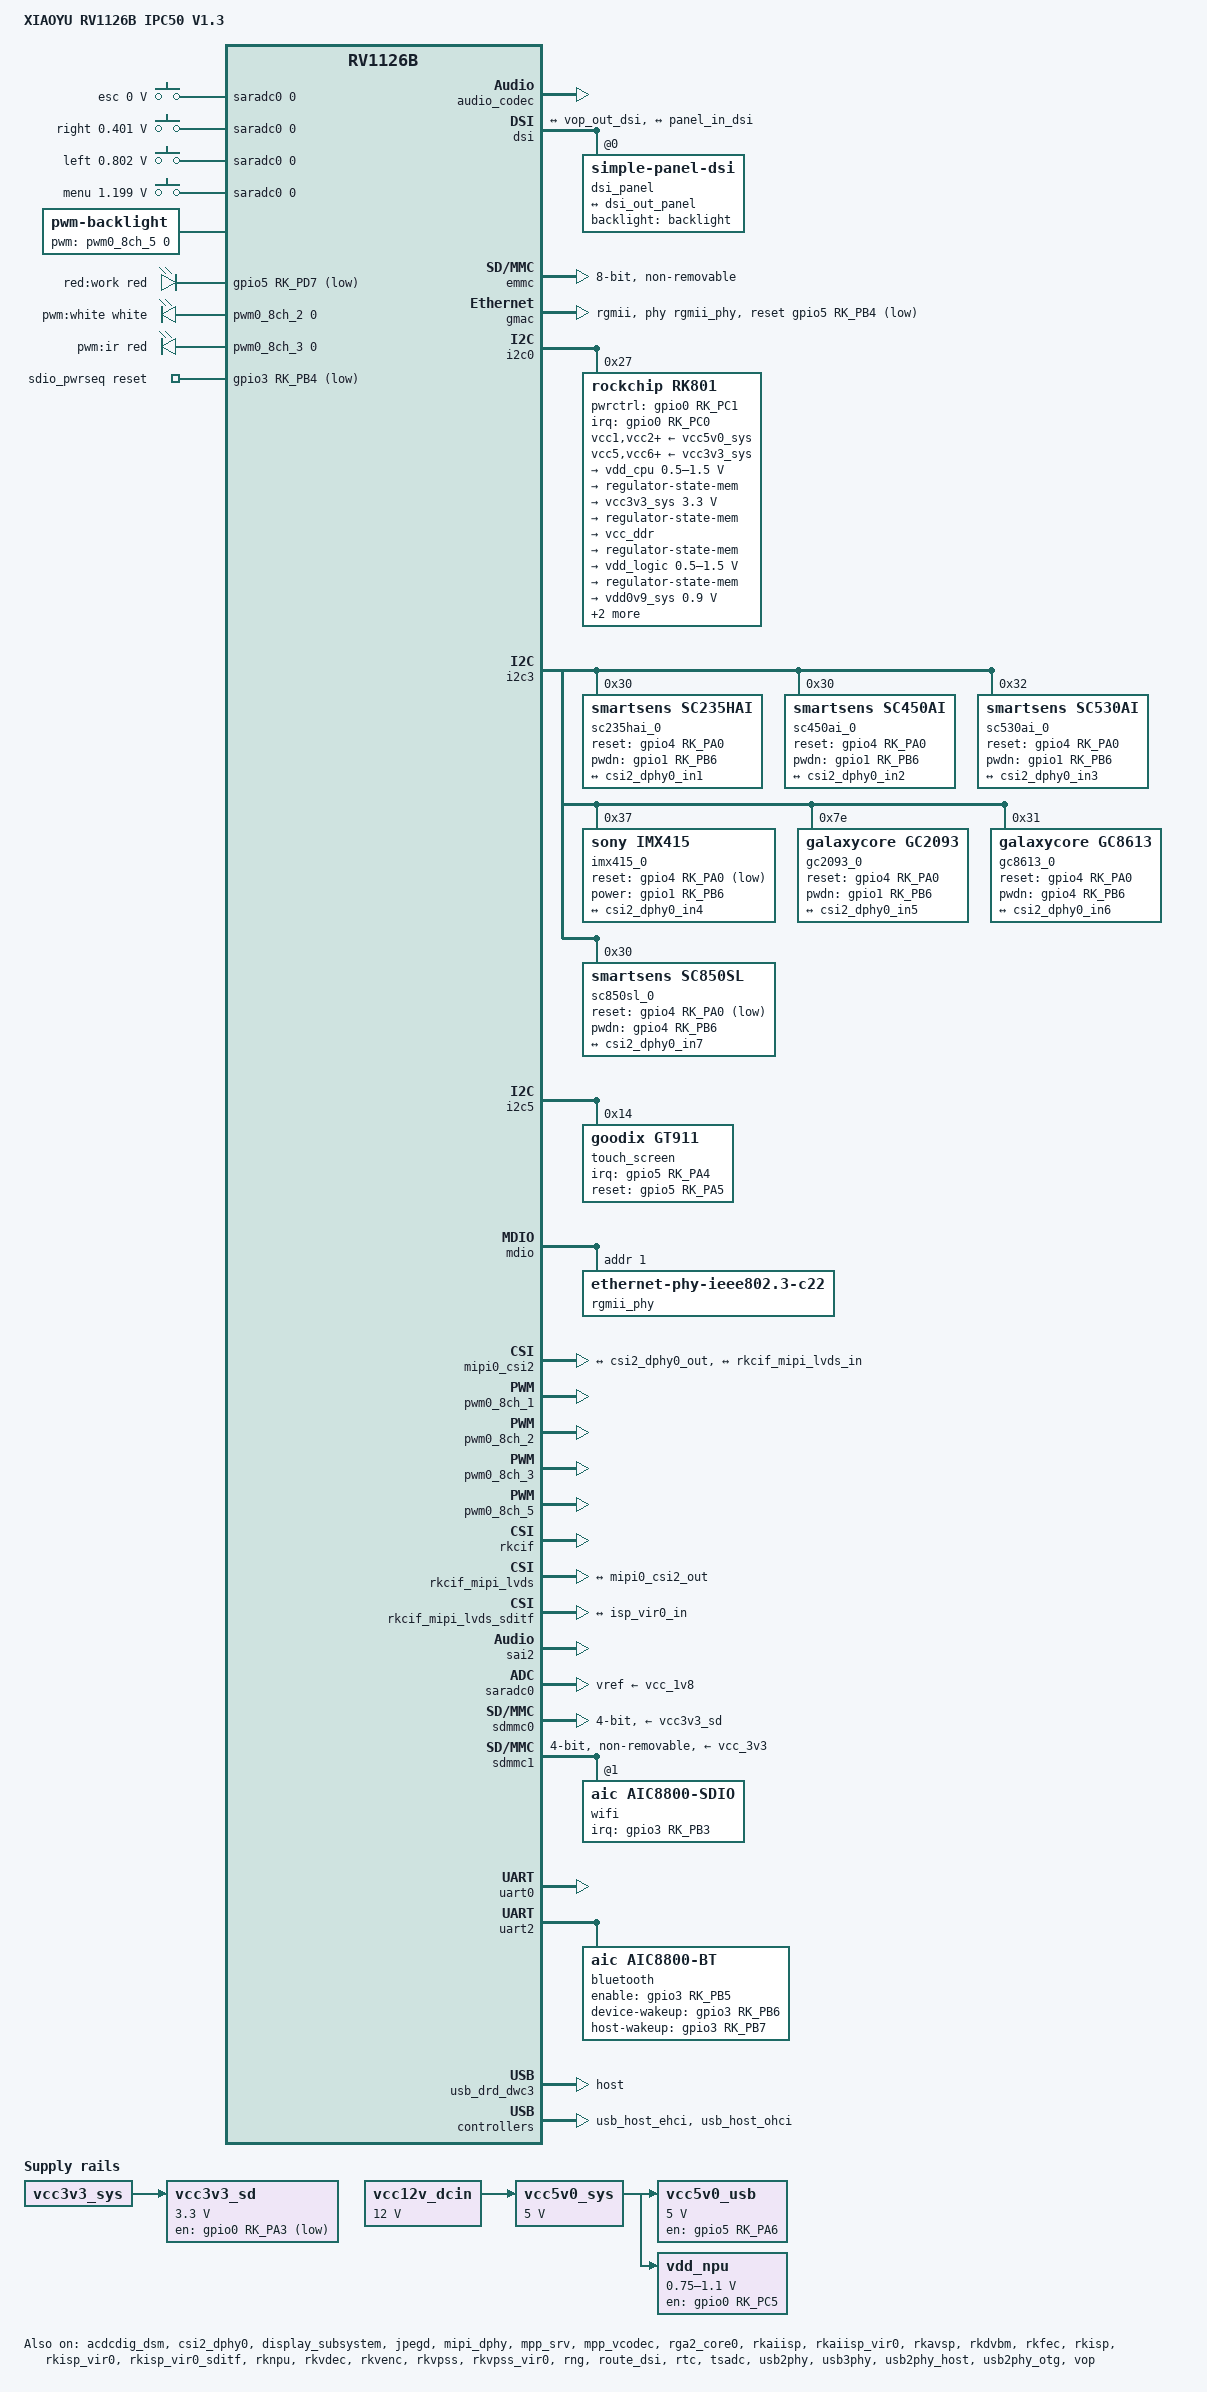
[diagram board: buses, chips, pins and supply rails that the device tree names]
// SPDX-License-Identifier: (GPL-2.0+ OR MIT)
/*
 * Copyright (c) 2025 Rockchip Electronics Co., Ltd.
 * Copyright (c) 2026 flippy (flippy@sina.com)
 */

/dts-v1/;

#include "rv1126b.dtsi"
#include <dt-bindings/display/drm_mipi_dsi.h>
#include <dt-bindings/input/input.h>
#include <dt-bindings/interrupt-controller/irq.h>
#include <dt-bindings/leds/common.h>
#include <dt-bindings/pwm/pwm.h>
#include "rv1126b-aoa.dtsi"

/ {
	model = "XIAOYU RV1126B IPC50 V1.3";
	compatible = "xiaoyu,rv1126b-ipc50", "rockchip,rv1126b";

	aliases {
		mmc0 = &emmc;
		mmc1 = &sdmmc0;
		mmc2 = &sdmmc1;
	};

	acodec_sound: acodec-sound {
		compatible = "rockchip,multicodecs-card";
		rockchip,card-name = "rockchip,acodec";
		rockchip,format = "i2s";
		rockchip,mclk-fs-mapping = <256 1024>;
		rockchip,cpu = <&sai2>;
		/*
		 * audio_codec_pmu: mic0
		 * audio_codec: mic1
		 * acdcdig_dsm: speak
		 */
		rockchip,codec = <&audio_codec_pmu>, <&audio_codec>, <&acdcdig_dsm>;
		status = "okay";
	};

	adc-keys {
		compatible = "adc-keys";
		io-channels = <&saradc0 0>;
		io-channel-names = "buttons";
		poll-interval = <100>;
		keyup-threshold-microvolt = <1800000>;

		esc-key {
			label = "esc";
			linux,code = <KEY_ESC>;
			press-threshold-microvolt = <0>;
		};

		right-key {
			label = "right";
			linux,code = <KEY_RIGHT>;
			press-threshold-microvolt = <400781>;
		};

		left-key {
			label = "left";
			linux,code = <KEY_LEFT>;
			press-threshold-microvolt = <801562>;
		};

		menu-key {
			label = "menu";
			linux,code = <KEY_MENU>;
			press-threshold-microvolt = <1198828>;
		};
	};

	backlight: backlight {
		compatible = "pwm-backlight";
		brightness-levels = <
			  0  20  20  21  21  22  22  23
			 23  24  24  25  25  26  26  27
			 27  28  28  29  29  30  30  31
			 31  32  32  33  33  34  34  35
			 35  36  36  37  37  38  38  39
			 40  41  42  43  44  45  46  47
			 48  49  50  51  52  53  54  55
			 56  57  58  59  60  61  62  63
			 64  65  66  67  68  69  70  71
			 72  73  74  75  76  77  78  79
			 80  81  82  83  84  85  86  87
			 88  89  90  91  92  93  94  95
			 96  97  98  99 100 101 102 103
			104 105 106 107 108 109 110 111
			112 113 114 115 116 117 118 119
			120 121 122 123 124 125 126 127
			128 129 130 131 132 133 134 135
			136 137 138 139 140 141 142 143
			144 145 146 147 148 149 150 151
			152 153 154 155 156 157 158 159
			160 161 162 163 164 165 166 167
			168 169 170 171 172 173 174 175
			176 177 178 179 180 181 182 183
			184 185 186 187 188 189 190 191
			192 193 194 195 196 197 198 199
			200 201 202 203 204 205 206 207
			208 209 210 211 212 213 214 215
			216 217 218 219 220 221 222 223
			224 225 226 227 228 229 230 231
			232 233 234 235 236 237 238 239
			240 241 242 243 244 245 246 247
			248 249 250 251 252 253 254 255
		>;
		default-brightness-level = <200>;
		pwms = <&pwm0_8ch_5 0 25000 0>;
	};

	chosen: chosen {
		bootargs = "earlycon=uart8250,mmio32,0x20810000 console=ttyFIQ0";
	};

	gpio_leds: leds {
		compatible = "gpio-leds";

		work_led: work {
			gpios = <&gpio5 RK_PD7 GPIO_ACTIVE_LOW>;
			color = <LED_COLOR_ID_RED>;
			label = "red:work";
			linux,default-trigger = "heartbeat";
			status = "okay";
		};
	};

	pwm_leds: pwm-leds {
		compatible = "pwm-leds";

		pwm_led_white: pwm-led-white {
			color = <LED_COLOR_ID_WHITE>;
			label = "pwm:white";
			/* 0:PWM_POLARITY_NORMAL 1:PWM_POLARITY_INVERTED */
			pwms = <&pwm0_8ch_2 0 5000 0>;
			max-brightness = <255>;
			default-state = "off";
		};

		pwm_led_ir: pwm-led-ir {
			color = <LED_COLOR_ID_RED>;
			label = "pwm:ir";
			/* 0:PWM_POLARITY_NORMAL 1:PWM_POLARITY_INVERTED */
			pwms = <&pwm0_8ch_3 0 5000 0>;
			max-brightness = <255>;
			default-state = "off";
		};
	};

	reserved_memory: reserved-memory {
		cma: cma {
			compatible = "shared-dma-pool";
			linux,cma-default;
			size =  <(256 * 0x100000)>;
			reusable;
		};
	};

	sdio_pwrseq: sdio-pwrseq {
		compatible = "mmc-pwrseq-simple";
		pinctrl-names = "default";
		pinctrl-0 = <&wifi_enable_h>;
		post-power-on-delay-ms = <200>;
		power-off-delay-us = <20000>;

		/*
		 * On the module itself this is one of these (depending
		 * on the actual card populated):
		 * - SDIO_RESET_L_WL_REG_ON
		 * - PDN (power down when low)
		 */
		reset-gpios = <&gpio3 RK_PB4 GPIO_ACTIVE_LOW>;
	};

	vcc12v_dcin: regulator-vcc12v-dcin {
		compatible = "regulator-fixed";
		regulator-name = "vcc12v_dcin";
		regulator-always-on;
		regulator-boot-on;
		regulator-min-microvolt = <12000000>;
		regulator-max-microvolt = <12000000>;
	};

	vcc5v0_sys: regulator-vcc5v0-sys {
		compatible = "regulator-fixed";
		regulator-name = "vcc5v0_sys";
		regulator-always-on;
		regulator-boot-on;
		regulator-min-microvolt = <5000000>;
		regulator-max-microvolt = <5000000>;
		vin-supply = <&vcc12v_dcin>;
		status = "okay";
	};

	vcc5v0_usb: regulator-vcc5v0-usb {
		compatible = "regulator-fixed";
		enable-active-high;	
		gpios = <&gpio5 RK_PA6 GPIO_ACTIVE_HIGH>;
		regulator-min-microvolt = <5000000>;
		regulator-max-microvolt = <5000000>;
		regulator-name = "vcc5v0_usb";
		vin-supply = <&vcc5v0_sys>;
	};

	vcc3v3_sd: regulator-vcc3v3-sd {
		compatible = "regulator-fixed";
		gpios = <&gpio0 RK_PA3 GPIO_ACTIVE_LOW>;
		regulator-always-on;
		regulator-boot-on;
		regulator-min-microvolt = <3300000>;
		regulator-max-microvolt = <3300000>;
		regulator-name = "vcc3v3_sd";
		vin-supply = <&vcc3v3_sys>;
	};

	vdd_npu: vdd-npu {
		compatible = "pwm-regulator";
		enable-gpios = <&gpio0 RK_PC5 GPIO_ACTIVE_HIGH>;
		pwms = <&pwm0_8ch_1 0 25000 1>;
		regulator-always-on;
		regulator-boot-on;
		regulator-init-microvolt = <950000>;
		regulator-min-microvolt = <750000>;
		regulator-max-microvolt = <1100000>;
		regulator-name = "vdd_npu";
		regulator-settling-time-up-us = <250>;
		pwm-supply = <&vcc5v0_sys>;
	};

};

/* speak */
&acdcdig_dsm {
	pa-ctl-gpios = <&gpio0 RK_PA4 GPIO_ACTIVE_HIGH>;
	pinctrl-0 = <&dsm_aud_rn_pins &dsm_aud_rp_pins>;
	status = "okay";
};

/* mic1 */
&audio_codec {
	status = "okay";
};

/* mic0 */
&audio_codec_pmu {
	status = "okay";
};

&cpu0 {
	cpu-supply = <&vdd_cpu>;
};

/*
 * csi2_dphy0 -> csi0(rx0) clk0 + 4 lane ==> imx415_0 
 *                           or + 2 lane ==> sc450ai_0
 * csi2_dphy1 -> csi0(rx0) clk0 + 2 lane 0/1
 * csi2_dphy2 -> csi0(rx0) clk1 + 2 lane 2/3
 * csi2_dphy3 -> csi1(rx1) clk0 + 4 lane ==> imx415_1
 *                              + 2 lane ==> sc450ai_1
 * csi2_dphy4 -> csi1(rx1) clk0 + 2 lane 0/1
 * csi2_dphy5 -> csi1(rx1) clk1 + 2 lane 2/3
 */
&csi2_dphy0 {
	status = "okay";

	ports {
		#address-cells = <1>;
		#size-cells = <0>;

		port@0 {
			reg = <0>;
			#address-cells = <1>;
			#size-cells = <0>;

			csi2_dphy0_in1: endpoint@1 {
				reg = <1>;
				remote-endpoint = <&sc235hai_0_out>;
				data-lanes = <1 2>;
			};

			csi2_dphy0_in2: endpoint@2 {
				reg = <2>;
				remote-endpoint = <&sc450ai_0_out>;
				data-lanes = <1 2>;
			};

			csi2_dphy0_in3: endpoint@3 {
				reg = <3>;
				remote-endpoint = <&sc530ai_0_out>;
				data-lanes = <1 2 3 4>;
			};

			csi2_dphy0_in4: endpoint@4 {
				reg = <4>;
				remote-endpoint = <&imx415_0_out>;
				data-lanes = <1 2 3 4>;
			};

			csi2_dphy0_in5: endpoint@5 {
				reg = <5>;
				remote-endpoint = <&gc2093_0_out>;
				data-lanes = <1 2>;
			};

			csi2_dphy0_in6: endpoint@6 {
				reg = <6>;
				remote-endpoint = <&gc8613_0_out>;
				data-lanes = <1 2 3 4>;
			};

			csi2_dphy0_in7: endpoint@7 {
				reg = <7>;
				remote-endpoint = <&sc850sl_0_out>;
				data-lanes = <1 2 3 4>;
			};

			/*
			csi2_dphy0_in8: endpoint@8 {
				reg = <8>;
				remote-endpoint = <&imx586_0_out>;
				data-lanes = <1 2 3 4>;
			};
			*/

			/*
			csi2_dphy0_in9: endpoint@9 {
				reg = <9>;
				remote-endpoint = <&sc635ai_0_out>;
				data-lanes = <1 2 3 4>;
			};
			*/
		};

		port@1 {
			reg = <1>;
			#address-cells = <1>;
			#size-cells = <0>;

			csi2_dphy0_out: endpoint@0 {
				reg = <0>;
				remote-endpoint = <&mipi0_csi2_in>;
			};
		};
	};
};

&dsi {          
	status = "okay";

	dsi_panel: panel@0 {
		status = "okay";
		compatible ="simple-panel-dsi";
		reg = <0>;
		backlight = <&backlight>;
		bpc = <8>;   // 每个颜色通道的位数
		prepare-delay-ms = <60>;
		reset-delay-ms = <60>;
		init-delay-ms = <60>;
		disable-delay-ms = <60>;
		unprepare-delay-ms = <60>;

		width-mm = <62>;
		height-mm = <103>;

		/* 忽略enable-gpios、reset-gpios, 但相关引脚拉高，解决开机logo不显示的问题 */
		//enable-gpios  = <&gpio5 RK_PA3 GPIO_ACTIVE_HIGH>;
		//reset-gpios  = <&gpio1 RK_PB5 GPIO_ACTIVE_LOW>;
		pinctrl-names = "default";
		pinctrl-0 = <&lcd_en_h>, <&lcd_rst_l>;

		dsi,flags = <(MIPI_DSI_MODE_VIDEO | MIPI_DSI_MODE_VIDEO_BURST | MIPI_DSI_MODE_LPM | MIPI_DSI_MODE_NO_EOT_PACKET)>;
		dsi,format = <MIPI_DSI_FMT_RGB888>;
		dsi,lanes = <2>;

		panel-init-sequence = [
			39 00 06 F0 55 AA 52 08 00
			39 00 03 F6 5A 87
			39 00 02 C1 3F
			39 00 02 CD 25
			39 00 02 C9 10
			39 00 02 F8 8A
			39 00 02 AC 45
			39 00 02 A7 47
			39 00 02 A0 CC
			39 00 05 86 99 A3 A3 41
			39 00 05 FA 08 08 00 04
			39 00 02 A3 6E
			39 00 04 FD 3C 3C 00
			39 00 02 9A 6C
			39 00 02 9B 6C
			39 00 03 82 42 42
			39 00 02 B1 10
			39 00 03 7A 0F 13
			39 00 03 7B 0F 13
			39 00 08 69 14 22 14 22 44 22 08
			39 00 02 6B 07
			39 00 21 6D 07 1E 01 00 1F 09 0B 0D 0F 1E 1E 1E 1E 1E 1E 1E 1E 1E 1E 1E 1E 1E 1E 10 0E 0C 0A 1F 00 02 1E 08
			39 00 09 60 18 07 7A 7A 18 06 7A 7A
			39 00 09 63 13 1F 7A 7A 13 20 7A 7A
			39 00 11 64 18 03 03 25 03 03 18 02 03 26 03 03 7A 7A 7A 7A
			39 00 11 65 18 01 03 27 03 03 18 00 03 28 03 03 7A 7A 7A 7A
			39 00 11 66 10 01 03 29 03 03 10 02 03 2A 03 03 7A 7A 7A 7A
			39 00 11 67 10 03 03 2B 03 03 10 04 03 2C 03 03 7A 7A 7A 7A
			39 00 35 D1 00 00 00 08 00 10 00 24 00 30 00 40 00 59 00 80 00 9D 00 CF 00 FC 01 50 01 9E 01 A0 01 E8 02 46 02 81 02 CC 03 02 03 60 03 B0 03 C1 03 CD 03 D8 03 E0 03 FF
			39 00 35 D2 00 00 00 08 00 10 00 24 00 30 00 40 00 59 00 80 00 9D 00 CF 00 FC 01 50 01 9E 01 A0 01 E8 02 46 02 81 02 CC 03 02 03 60 03 B0 03 C1 03 CD 03 D8 03 E0 03 FF
			39 00 35 D3 00 00 00 08 00 10 00 24 00 30 00 40 00 59 00 80 00 9D 00 CF 00 FC 01 50 01 9E 01 A0 01 E8 02 46 02 81 02 CC 03 02 03 60 03 B0 03 C1 03 CD 03 D8 03 E0 03 FF
			39 00 35 D4 00 00 00 08 00 10 00 24 00 30 00 40 00 59 00 80 00 9D 00 CF 00 FC 01 50 01 9E 01 A0 01 E8 02 46 02 81 02 CC 03 02 03 60 03 B0 03 C1 03 CD 03 D8 03 E0 03 FF
			39 00 35 D5 00 00 00 08 00 10 00 24 00 30 00 40 00 59 00 80 00 9D 00 CF 00 FC 01 50 01 9E 01 A0 01 E8 02 46 02 81 02 CC 03 02 03 60 03 B0 03 C1 03 CD 03 D8 03 E0 03 FF
			39 00 35 D6 00 00 00 08 00 10 00 24 00 30 00 40 00 59 00 80 00 9D 00 CF 00 FC 01 50 01 9E 01 A0 01 E8 02 46 02 81 02 CC 03 02 03 60 03 B0 03 C1 03 CD 03 D8 03 E0 03 FF            
			// SLEEP OUT命令
			05 78 01 11  // 延迟120ms
			// DISPLAY ON命令
			05 14 01 29  // 延迟20ms
		];

		panel-exit-sequence = [
			05 00 01 28
			05 00 01 10
		];
 
		display-timings {
			native-mode = <&timing0>;

			timing0: timing0 {
				clock-frequency = <26800000>; //26839200 //26800000  --> p60; 28000000   --> p63
				hactive = <480>;
				vactive = <800>;
				hback-porch = <20>;
				hfront-porch = <20>;
				vback-porch = <24>;
				vfront-porch = <12>;
				hsync-len = <10>;
				vsync-len = <8>;

				hsync-active = <0>;
				vsync-active = <0>;
				de-active = <0>;
				pixelclk-active = <0>;
			};
		};

		ports {
			#address-cells = <1>;
			#size-cells = <0>;

			port@0 {
				reg = <0>;
				panel_in_dsi: endpoint {
					remote-endpoint = <&dsi_out_panel>;
				};
			};
		};
	};
    
	/delete-node/ ports;
	ports {
		#address-cells = <1>;
		#size-cells = <0>;

		port@0 {
			reg = <0>;
			dsi_in_vop: endpoint {
				remote-endpoint = <&vop_out_dsi>;
			};
        	};

		port@1 {
			reg = <1>;
			dsi_out_panel: endpoint {
				remote-endpoint = <&panel_in_dsi>;
			};
		};
	};
};              
                
&dsi_in_vop {   
	status = "okay";
};

&display_subsystem {
	status = "okay";
};

&emmc {
	bus-width = <8>;
	cap-mmc-highspeed;
	non-removable;
	mmc-hs200-1_8v;
	rockchip,default-sample-phase = <90>;
	no-sdio;
	no-sd;
	status = "okay";
};

&fspi0 {
	status = "disabled";

	flash@0 {
		compatible = "spi-nand";
		reg = <0>;
		spi-max-frequency = <75000000>;
		spi-rx-bus-width = <4>;
		spi-tx-bus-width = <1>;
	};
};

&gmac {
	assigned-clocks = <&cru CLK_MAC_OUT2IO>;
	assigned-clock-rates = <25000000>;
	clock_in_out = "output";
	phy-handle = <&rgmii_phy>;
	phy-mode = "rgmii";
	pinctrl-names = "default";
	pinctrl-0 = <&ethm1_miim_pins
		     &ethm1_tx_bus2_pins
		     &ethm1_rx_bus2_pins
		     &ethm1_rgmii_clk_pins
		     &ethm1_rgmii_bus_pins
		     &eth_clk_25mm1_out_pins>;

	tx_delay = <0x31>;
	rx_delay = <0x2e>;

	snps,reset-active-low;
	/* Reset time is 20ms, 100ms for rtl8211f */
	snps,reset-delays-us = <0 20000 100000>;
	snps,reset-gpio = <&gpio5 RK_PB4 GPIO_ACTIVE_LOW>;

	status = "okay";
};

&i2c0 {
	status = "okay";

	rk801: rk801@27 {
		compatible = "rockchip,rk801";
		status = "okay";
		reg = <0x27>;
		interrupt-parent = <&gpio0>;
		interrupts = <RK_PC0 IRQ_TYPE_LEVEL_LOW>;
		pwrctrl-gpios = <&gpio0 RK_PC1 GPIO_ACTIVE_HIGH>;

		pinctrl-names = "default", "pmic-reset";
		pinctrl-0 = <&pmic_int>;
		pinctrl-1 = <&soc_pwrctrl_reset>;
		rockchip,system-power-controller;
		wakeup-source;

		vcc1-supply = <&vcc5v0_sys>;
		vcc2-supply = <&vcc5v0_sys>;
		vcc3-supply = <&vcc5v0_sys>;
		vcc4-supply = <&vcc5v0_sys>;
		vcc5-supply = <&vcc3v3_sys>;
		vcc6-supply = <&vcc3v3_sys>;
		vcc7-supply = <&vcc3v3_sys>;

		regulators {
			vdd_cpu: DCDC_REG1 {
				regulator-name = "vdd_cpu";
				regulator-min-microvolt = <500000>;
				regulator-max-microvolt = <1500000>;
				regulator-initial-mode = <0x1>;
				regulator-boot-on;
				regulator-always-on;
				regulator-state-mem {
					regulator-mode = <0x2>;
					regulator-off-in-suspend;
					regulator-suspend-microvolt = <950000>;
				};
			};

			vcc3v3_sys: DCDC_REG2 {
				regulator-name = "vcc3v3_sys";
				regulator-min-microvolt = <3300000>;
				regulator-max-microvolt = <3300000>;
				regulator-initial-mode = <0x1>;
				regulator-boot-on;
				regulator-always-on;
				regulator-state-mem {
					regulator-mode = <0x2>;
					regulator-on-in-suspend;
					regulator-suspend-microvolt = <3300000>;
				};
			};

			vcc_ddr: DCDC_REG3 {
				regulator-name = "vcc_ddr";
				regulator-boot-on;
				regulator-always-on;
				regulator-state-mem {
					regulator-mode = <0x2>;
					regulator-on-in-suspend;
				};
			};

			vdd_logic: DCDC_REG4 {
				regulator-name = "vdd_logic";
				regulator-min-microvolt = <500000>;
				regulator-max-microvolt = <1500000>;
				regulator-initial-mode = <0x1>;
				regulator-boot-on;
				regulator-always-on;
				regulator-state-mem {
					regulator-mode = <0x2>;
					regulator-off-in-suspend;
					regulator-suspend-microvolt = <900000>;
				};
			};

			vdd0v9_sys: LDO_REG1 {
				regulator-name = "vdd0v9_sys";
				regulator-min-microvolt = <900000>;
				regulator-max-microvolt = <900000>;
				regulator-boot-on;
				regulator-always-on;
				regulator-state-mem {
					regulator-off-in-suspend;
					regulator-suspend-microvolt = <900000>;
				};
			};

			vcc_1v8: LDO_REG2 {
				regulator-name = "vcc_1v8";
				regulator-min-microvolt = <1800000>;
				regulator-max-microvolt = <1800000>;
				regulator-boot-on;
				regulator-always-on;
				regulator-state-mem {
					regulator-off-in-suspend;
					regulator-suspend-microvolt = <1800000>;
				};
			};

			vcc_3v3: SWITCH_REG {
				regulator-name = "vcc_3v3";
				regulator-boot-on;
				regulator-always-on;
				regulator-state-mem {
					regulator-off-in-suspend;
					regulator-suspend-microvolt = <3300000>;
				};
			};
		};
	};
};

/* sensor0 */
&i2c3 {
	pinctrl-0 = <&i2c3m1_pins>;
	status = "okay";

	sc235hai_0: sc235hai-0@30 {
		compatible = "smartsens,sc235hai";
		reg = <0x30>;
		clocks = <&cru CLK_MIPI0_OUT2IO>;
		clock-names = "xvclk";
		reset-gpios = <&gpio4 RK_PA0 GPIO_ACTIVE_HIGH>;
		pwdn-gpios = <&gpio1 RK_PB6 GPIO_ACTIVE_HIGH>;
		pinctrl-names = "default";
		pinctrl-0 = <&cam_clk0_pins>;
		rockchip,camera-hdr-mode = <5>; // HDR_X2
		rockchip,camera-module-index = <0>;
		rockchip,camera-module-facing = "back";
		rockchip,camera-module-name = "xiaoyu";
		rockchip,camera-module-lens-name = "50ipc";
		status = "okay";

		port {
			sc235hai_0_out: endpoint {
				remote-endpoint = <&csi2_dphy0_in1>;
				data-lanes = <1 2>;
			};
		};
	};

	sc450ai_0: sc450ai-0@30 {
		compatible = "smartsens,sc450ai";
		reg = <0x30>;
		clocks = <&cru CLK_MIPI0_OUT2IO>;
		clock-names = "xvclk";
		reset-gpios = <&gpio4 RK_PA0 GPIO_ACTIVE_HIGH>;
		pwdn-gpios = <&gpio1 RK_PB6 GPIO_ACTIVE_HIGH>;
		pinctrl-names = "default";
		pinctrl-0 = <&cam_clk0_pins>;
		rockchip,camera-hdr-mode = <5>; // HDR_X2
		rockchip,camera-module-index = <0>;
		rockchip,camera-module-facing = "back";
		rockchip,camera-module-name = "xiaoyu";
		rockchip,camera-module-lens-name = "50ipc";
		status = "okay";

		port {
			sc450ai_0_out: endpoint {
				remote-endpoint = <&csi2_dphy0_in2>;
				data-lanes = <1 2>;
			};
		};
	};

	sc530ai_0: sc530ai-0@32 {
		compatible = "smartsens,sc530ai";
		reg = <0x32>;
		clocks = <&cru CLK_MIPI0_OUT2IO>;
		clock-names = "xvclk";
		reset-gpios = <&gpio4 RK_PA0 GPIO_ACTIVE_HIGH>;
		pwdn-gpios = <&gpio1 RK_PB6 GPIO_ACTIVE_HIGH>;
		pinctrl-names = "default";
		pinctrl-0 = <&cam_clk0_pins>;
		rockchip,camera-hdr-mode = <5>; // HDR_X2
		rockchip,camera-module-index = <0>;
		rockchip,camera-module-facing = "back";
		rockchip,camera-module-name = "xiaoyu";
		rockchip,camera-module-lens-name = "50ipc";
		status = "okay";

		port {
			sc530ai_0_out: endpoint {
				remote-endpoint = <&csi2_dphy0_in3>;
				data-lanes = <1 2 3 4>;
			};
		};
	};

	imx415_0: imx415-0@37 {
		compatible = "sony,imx415";
		reg = <0x37>;
		clocks = <&cru CLK_MIPI0_OUT2IO>;
		clock-names = "xvclk";
		reset-gpios = <&gpio4 RK_PA0 GPIO_ACTIVE_LOW>;
		power-gpios = <&gpio1 RK_PB6 GPIO_ACTIVE_HIGH>;
		pinctrl-names = "default";
		pinctrl-0 = <&cam_clk0_pins>;
		rockchip,camera-hdr-mode = <5>; // HDR_X2
		rockchip,camera-module-index = <0>;
		rockchip,camera-module-facing = "back";
		rockchip,camera-module-name = "xiaoyu";
		rockchip,camera-module-lens-name = "50ipc";
		status = "okay";

		port {
			imx415_0_out: endpoint {
				remote-endpoint = <&csi2_dphy0_in4>;
				data-lanes = <1 2 3 4>;
			};
		};
	};

	gc2093_0: gc2093-0@7e {
		compatible = "galaxycore,gc2093";
		reg = <0x7e>;
		clocks = <&cru CLK_MIPI0_OUT2IO>;
		clock-names = "xvclk";
		pinctrl-names = "default";
		pinctrl-0 = <&cam_clk0_pins>;
		reset-gpios = <&gpio4 RK_PA0 GPIO_ACTIVE_HIGH>;
		pwdn-gpios = <&gpio1 RK_PB6 GPIO_ACTIVE_HIGH>;
		rockchip,camera-hdr-mode = <5>; // HDR_X2
		rockchip,camera-module-index = <0>;
		rockchip,camera-module-facing = "back";
		rockchip,camera-module-name = "xiaoyu";
		rockchip,camera-module-lens-name = "50ipc";
		status = "okay";

		port {
			gc2093_0_out: endpoint {
				remote-endpoint = <&csi2_dphy0_in5>;
				data-lanes = <1 2>;
			};
		};
	};

	gc8613_0: gc8613-0@31 {
		compatible = "galaxycore,gc8613";
		reg = <0x31>;
		clocks = <&cru CLK_MIPI0_OUT2IO>;
		clock-names = "xvclk";
		reset-gpios = <&gpio4 RK_PA0 GPIO_ACTIVE_HIGH>;
		pwdn-gpios = <&gpio4 RK_PB6 GPIO_ACTIVE_HIGH>;
		pinctrl-names = "default";
		pinctrl-0 = <&cam_clk0_pins>;
		rockchip,camera-hdr-mode = <5>; // HDR_X2
		rockchip,camera-module-index = <0>;
		rockchip,camera-module-facing = "back";
		rockchip,camera-module-name = "xiaoyu";
		rockchip,camera-module-lens-name = "50ipc";
		status = "okay";

		port {
			gc8613_0_out: endpoint {
				remote-endpoint = <&csi2_dphy0_in6>;
				data-lanes = <1 2 3 4>;
			};
		};
	};

	sc850sl_0: sc850sl-0@30 {
		compatible = "smartsens,sc850sl";
		reg = <0x30>;
		clocks = <&cru CLK_MIPI0_OUT2IO>;
		clock-names = "xvclk";
		reset-gpios = <&gpio4 RK_PA0 GPIO_ACTIVE_LOW>;
		pwdn-gpios = <&gpio4 RK_PB6 GPIO_ACTIVE_HIGH>;
		pinctrl-names = "default";
		pinctrl-0 = <&cam_clk0_pins>;
		rockchip,camera-hdr-mode = <5>; // HDR_X2
		rockchip,camera-module-index = <0>;
		rockchip,camera-module-facing = "back";
		rockchip,camera-module-name = "xiaoyu";
		rockchip,camera-module-lens-name = "50ipc";
		status = "okay";

		port {
			sc850sl_0_out: endpoint {
				remote-endpoint = <&csi2_dphy0_in7>;
				data-lanes = <1 2 3 4>;
			};
		};
	};

	/*
	imx586_0: imx586-0@1a {
		compatible = "sony,imx586";
		reg = <0x1a>;
		clocks = <&cru CLK_MIPI0_OUT2IO>;
		clock-names = "xvclk";
		reset-gpios = <&gpio4 RK_PA0 GPIO_ACTIVE_LOW>;
		power-gpios = <&gpio1 RK_PB6 GPIO_ACTIVE_HIGH>;
		pinctrl-names = "default";
		pinctrl-0 = <&cam_clk0_pins>;
		rockchip,camera-hdr-mode = <5>; // HDR_X2
		rockchip,camera-module-index = <0>;
		rockchip,camera-module-facing = "back";
		rockchip,camera-module-name = "xiaoyu";
		rockchip,camera-module-lens-name = "50ipc";
		status = "okay";

		port {
			imx586_0_out: endpoint {
				remote-endpoint = <&csi2_dphy0_in8>;
				data-lanes = <1 2 3 4>;
			};
		};
	};
	*/

	/*
	sc635hai_0: sc635hai-0@30 {
		compatible = "smartsens,sc635hai";
		reg = <0x30>;
		clocks = <&cru CLK_MIPI0_OUT2IO>;
		clock-names = "xvclk";
		reset-gpios = <&gpio4 RK_PA0 GPIO_ACTIVE_HIGH>;
		pwdn-gpios = <&gpio4 RK_PB6 GPIO_ACTIVE_HIGH>;
		pinctrl-names = "default";
		pinctrl-0 = <&cam_clk0_pins>;
		rockchip,camera-hdr-mode = <5>; // HDR_X2
		rockchip,camera-module-index = <0>;
		rockchip,camera-module-facing = "back";
		rockchip,camera-module-name = "xiaoyu";
		rockchip,camera-module-lens-name = "50ipc";
		status = "okay";

		port {
			sc635hai_0_out: endpoint {
				remote-endpoint = <&csi2_dphy0_in9>;
				data-lanes = <1 2 3 4>;
			};
		};
	};
	*/
};

&i2c5 {
	status = "okay";
	pinctrl-names = "default";
	pinctrl-0 = <&i2c5m2_pins>;

	touch_screen: gt911@14 {
		compatible = "goodix,gt911";
		reg = <0x14>; // 0x5d or 0x14
		pinctrl-names = "default";
		pinctrl-0 = <&touch_rst &touch_irq>;
		interrupt-parent = <&gpio5>;
		interrupts = <RK_PA4 0>;         // IRQ_TYPE_EDGE_FALLING = 0 ?

		irq-gpios = <&gpio5 RK_PA4 0>;   // GPIO_ACTIVE_LOW = 0 ?
		reset-gpios = <&gpio5 RK_PA5 0>;
	};

	// 可选：屏幕方向
	// touchscreen-swapped-x-y;
	// touchscreen-inverted-x;
	// touchscreen-inverted-y;
};

&jpegd {
	status = "okay";
};

&jpeg_mmu {
	status = "okay";
};

&mdio {
	rgmii_phy: ethernet-phy@1 {
		compatible = "ethernet-phy-ieee802.3-c22";
		reg = <1>;
		clocks = <&cru CLK_MAC_OUT2IO>;
		realtek,led-data = <0x0780>;
	};
};

&mipi0_csi2 {
	status = "okay";

	ports {
		#address-cells = <1>;
		#size-cells = <0>;

		port@0 {
			reg = <0>;
			#address-cells = <1>;
			#size-cells = <0>;

			mipi0_csi2_in: endpoint@1 {
				reg = <1>;
				remote-endpoint = <&csi2_dphy0_out>;
			};
		};

		port@1 {
			reg = <1>;
			#address-cells = <1>;
			#size-cells = <0>;

			mipi0_csi2_out: endpoint@0 {
				reg = <0>;
				remote-endpoint = <&rkcif_mipi_lvds_in>;
			};
		};
	};
};

&mipi_dphy {
	status = "okay";
};

&mpp_srv {
	status = "okay";
};

&mpp_vcodec {
	status = "okay";
};

&pinctrl {
	pmic {
		pmic_int: pmic-int {
			rockchip,pins = <0 RK_PC0 RK_FUNC_GPIO &pcfg_pull_up>;
		};

		soc_pwrctrl_reset: soc-pwrctrl-reset {
			rockchip,pins = <0 RK_PC1 RK_FUNC_GPIO &pcfg_output_high>;
		};
	};

	/*
	 * pins:
	 * sdio_clk:       GPIO3 A0
	 * sdio_cmd:       GPIO3 A1
	 * sdio d0-d3:     GPIO3 A2-A5
	 * uart2_rtsn:     GPIO3 A6
	 * uart2_ctsn:     GPIO3 A7
	 * uart2_rx:       GPIO3 B0
	 * uart2_tx:       GPIO3 B1
	 * host_wake_wifi: GPIO3 B2
	 * wifi_wake_host: GPIO3 B3
	 * wifi_reg_on:    GPIO3 B4
	 * bt_reg_on:      GPIO3 B5
	 * host_wake_bt:   GPIO3 B6
	 * bt_wake_host:   GPIO3 B7
	 */
	bluetooth-wireless {
		wifi_enable_h: wifi-enable-h {
			rockchip,pins = <3 RK_PB4 RK_FUNC_GPIO &pcfg_pull_none>;
		};

		wifi_wake_host: wifi-wake-host {
			rockchip,pins = <3 RK_PB3 RK_FUNC_GPIO &pcfg_pull_up>;
		};
	};

	lcd {
		lcd_en_h: lcd-en-h {
			rockchip,pins = <5 RK_PA3 RK_FUNC_GPIO &pcfg_output_high>;
		};

		lcd_rst_l: lcd-rst-l {
			rockchip,pins = <1 RK_PB5 RK_FUNC_GPIO &pcfg_output_high>;
		};
	};

	touch {
		touch_rst: touch_rst {
			rockchip,pins = <5 RK_PA5 RK_FUNC_GPIO &pcfg_pull_up>;
		};

		touch_irq: touch_irq {
			rockchip,pins = <5 RK_PA4 RK_FUNC_GPIO &pcfg_pull_up>;
		};
	};
};

/* vdd_npu */
&pwm0_8ch_1 {
	pinctrl-0 = <&pwm0m0_ch1_pins>;
	status = "okay";
};

/* Output to white fill light */
&pwm0_8ch_2 {
	pinctrl-0 = <&pwm0m0_ch2_pins>;
	status = "okay";
};

/* Output to infrared fill light */
&pwm0_8ch_3 {
	pinctrl-0 = <&pwm0m0_ch3_pins>;
	status = "okay";
};

/* LCD Backlight */
&pwm0_8ch_5 {
	pinctrl-0 = <&pwm0m2_ch5_pins>;
	status = "okay";
};

&rga2_core0 {
	status = "okay";
};

&rga2_core0_mmu {
	status = "okay";
};

&rkaiisp {
	status = "okay";
};

&rkaiisp_mmu {
	status = "okay";
};

&rkaiisp_vir0 {
	status = "okay";
};

&rkavsp {
	status = "okay";
};

&rkavsp_mmu {
	status = "okay";
};

&rkcif {
	status = "okay";
};

&rkcif_mipi_lvds {
	status = "okay";

	port {
		rkcif_mipi_lvds_in: endpoint {
			remote-endpoint = <&mipi0_csi2_out>;
		};
	};
};

&rkcif_mipi_lvds_sditf {
	status = "okay";

	port {
		rkcif_mipi_lvds_sditf_out: endpoint {
			remote-endpoint = <&isp_vir0_in>;
		};
	};
};

&rkcif_mmu {
	status = "okay";
};

&rkdvbm {
	status = "okay";
};

&rkfec {
	status = "okay";
};

&rkfec_mmu {
	status = "okay";
};

&rkisp {
	status = "okay";
};

&rkisp_mmu {
	status = "okay";
};

&rkisp_vir0 {
	status = "okay";

	port {
		#address-cells = <1>;
		#size-cells = <0>;

		isp_vir0_in: endpoint@0 {
			reg = <0>;
			remote-endpoint = <&rkcif_mipi_lvds_sditf_out>;
		};
	};
};

&rkisp_vir0_sditf {
	status = "okay";
};

&rknpu {
	rknpu-supply = <&vdd_npu>;
	status = "okay";
};

&rknpu_mmu {
	status = "okay";
};

&rkvdec {
	status = "okay";
};

&rkvdec_mmu {
	status = "okay";
};

&rkvenc {
	status = "okay";
	venc-supply = <&vdd_logic>;
};

&rkvenc_mmu {
	status = "okay";
};

&rkvpss {
	status = "okay";
	dvbm = <&rkdvbm>;
};

&rkvpss_mmu {
	status = "okay";
};

&rkvpss_vir0 {
	status = "okay";
};

&rng {
	status = "okay";
};

&rockchip_suspend {
	status = "okay";

	rockchip,sleep-debug-en = <1>;
	rockchip,sleep-pin-config = < (0) >;
        rockchip,sleep-mode-config = <
		(0
		| RKPM_SLP_ARMOFF_LOGOFF
		| RKPM_SLP_PMU_PMUALIVE_32K
		| RKPM_SLP_PMU_DIS_OSC
		| RKPM_SLP_LP_PR
		)
	>;
};

&route_dsi {
	status = "okay";
	logo,uboot = "logo.bmp";
	logo,kernel = "logo_kernel.bmp";
	logo,mode = "center";
	logo,rotate = <270>; //uboot logo 旋转角度: 0 90 180 270
	charge_logo,mode = "center";
	connect = <&vop_out_dsi>;
};

&rtc {
	status = "okay";
};

&sai2 {
	/delete-property/ pinctrl-names;
	/delete-property/ pinctrl-0;
	status = "okay";
};

&saradc0 {
	status = "okay";
	vref-supply = <&vcc_1v8>;
};

&sdmmc0 {
	max-frequency = <50000000>;
	no-sdio;
	no-mmc;
	bus-width = <4>;
	cap-mmc-highspeed;
	cap-sd-highspeed;
	disable-wp;
	vmmc-supply = <&vcc3v3_sd>;
	vqmmc-supply = <&vcc_3v3>;
	status = "okay";
};

&sdmmc1 {
	#address-cells = <1>;
	#size-cells = <0>;
	bus-width = <4>;
	cap-sdio-irq;
	no-sd;
	no-mmc;
	max-frequency = <200000000>;
	pinctrl-names = "default";
	pinctrl-0 = <&sdmmc1_clk_pins &sdmmc1_cmd_pins &sdmmc1_bus4_pins>;
	keep-power-in-suspend;
	non-removable;
	mmc-pwrseq = <&sdio_pwrseq>;
	vmmc-supply = <&vcc_3v3>;
	vqmmc-supply = <&vcc_1v8>;
	broken-cd;
	disable-wp;
	no-detect-power-loss;
	cap-sd-highspeed;
	sd-uhs-sdr25;
	sd-uhs-sdr50;
	sd-uhs-sdr104;
	status = "okay";

	wifi@1 {
		compatible = "aic,aic8800-sdio";
		reg = <1>;
		pinctrl-names = "default";
		pinctrl-0 = <&wifi_wake_host>;
		interrupt-parent = <&gpio3>;
		interrupts = <RK_PB3 IRQ_TYPE_LEVEL_HIGH>; /* WIFI_WAKE_HOST */
		interrupt-names = "host-wake";
	};
};

&tsadc {
	status = "okay";
};

/* debug port */
&uart0 {
	pinctrl-0 = <&uart0m2_xfer_pins>;
	status = "okay";
};

/* AIC8800 Bluetooth */
&uart2 {
	status = "okay";

	pinctrl-names = "default";
	/* RTS is required for hardware flow control; the AIC8800 BT firmware
	 * is configured with flow control enabled (uart_flowctrl=1).
	 */
	pinctrl-0 = <&uart2m0_xfer_pins &uart2m0_ctsn_pins &uart2m0_rtsn_pins>;

	
	bluetooth {
		compatible = "aic,aic8800-bt";
		enable-gpios = <&gpio3 RK_PB5 GPIO_ACTIVE_HIGH>;       /* BT_REG_ON */
		device-wakeup-gpios = <&gpio3 RK_PB6 GPIO_ACTIVE_HIGH>; /* HOST_WAKE_BT */
		host-wakeup-gpios = <&gpio3 RK_PB7 GPIO_ACTIVE_HIGH>;   /* BT_WAKE_HOST */
		max-speed = <1500000>;
		post-power-on-delay-ms = <100>;
	};
};

&usb2phy {
	status = "okay";
};

&usb3phy {
	phy-supply = <&vcc5v0_usb>;
	status = "okay";
};

&usb2phy_host {
	phy-supply = <&vcc5v0_usb>;
	status = "okay";
};

&usb2phy_otg {
	phy-supply = <&vcc5v0_usb>;
	status = "okay";
};

&usb_drd_dwc3 {
	dr_mode = "host";
	extcon = <&usb2phy>;
	status = "okay";
};

&usb_host_ehci {
	status = "okay";
};

&usb_host_ohci {
	status = "okay";
};

&vop {
	status = "okay";
};

&vop_mmu {
	status = "okay";
};
